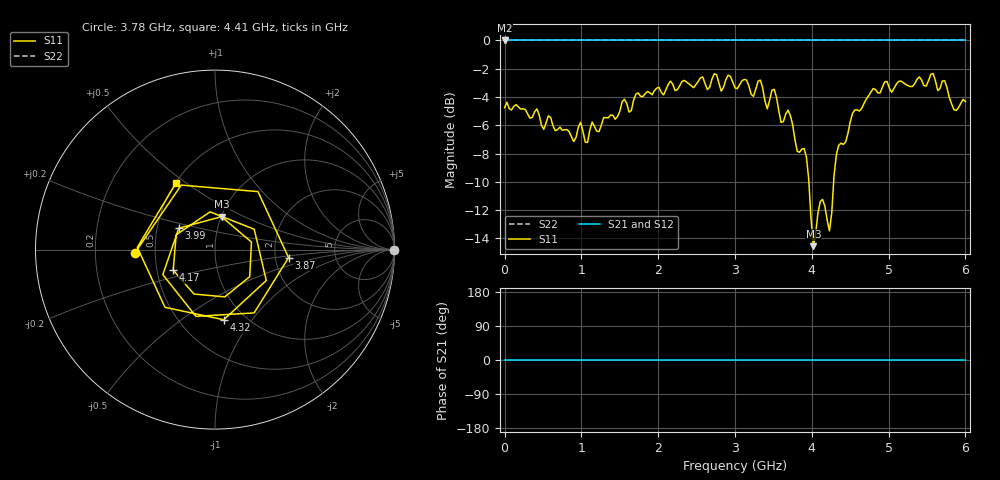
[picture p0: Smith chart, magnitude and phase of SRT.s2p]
!Keysight Technologies N9916A: A.08.06
!Date: Thursday, 30 May 2024 20:10:22
!Timezone: (GMT+10:00) Brisbane
!Model: N9916A
!Serial: MY53102361
!GPS Latitude:
!GPS Longitude:
!GPS TimeStamp: 0001-01-01 00:00:00Z
!GPS Seconds Since Last Read: 0
!CHECKSUM:0229838355
!Correction: S11(Rdy)S21()S12()S22()
!S2P File: Measurements:S11,S21,S12,S22:
# Hz S RI R 50
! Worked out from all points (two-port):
!   201 points, 30 kHz to 6 GHz, reference 50 ohm
!   highest |S21| = 0.00 dB at 30 kHz (marker M1); lowest = 0.0 dB at 30 kHz (marker M2)
!   |S21| within 3 dB of the highest: start of sweep to end of sweep
!   lowest |S11| = -14.6 dB at 4.02 GHz (marker M3), VSWR 1.46, Z = 50.1 + j19.1 ohm
!   |S11| at or under -10 dB: 3.962 GHz to 4.285 GHz (322.9 MHz wide, 7.83 % of centre)
!   |S22| runs from 0.0 to 0.0 dB; largest |S21 - S12| = 0
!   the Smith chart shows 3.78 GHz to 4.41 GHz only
!   S11 on the Smith chart (normalised r, x): 3.78 GHz: 0.38, -0.02; 3.87 GHz: 2.37, -0.26; 3.99 GHz: 0.65, +0.16; 4.17 GHz: 0.61, -0.15; 4.32 GHz: 0.80, -0.74; 4.41 GHz: 0.50, +0.46
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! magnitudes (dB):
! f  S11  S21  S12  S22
! 30 kHz  -4.8  0.0  0.0  0.0
! 1.02 GHz  -6.4  0.0  0.0  0.0
! 2.01 GHz  -3.3  0.0  0.0  0.0
! 3 GHz  -3.4  0.0  0.0  0.0
! 3.33 GHz  -2.8  0.0  0.0  0.0
! 3.42 GHz  -4.8  0.0  0.0  0.0
! 3.51 GHz  -3.5  0.0  0.0  0.0
! 3.78 GHz  -7.0  0.0  0.0  0.0
! 3.87 GHz  -7.7  0.0  0.0  0.0
! 3.93 GHz  -8.3  0.0  0.0  0.0
! 3.99 GHz  -12.6  0.0  0.0  0.0
! 4.02 GHz  -14.6  0.0  0.0  0.0
! 4.11 GHz  -11.4  0.0  0.0  0.0
! 4.17 GHz  -11.7  0.0  0.0  0.0
! 4.23 GHz  -13.5  0.0  0.0  0.0
! 4.32 GHz  -8.1  0.0  0.0  0.0
! 4.41 GHz  -7.4  0.0  0.0  0.0
! 4.56 GHz  -4.9  0.0  0.0  0.0
! 5.01 GHz  -3.4  0.0  0.0  0.0
! 5.58 GHz  -2.3  0.0  0.0  0.0
! 5.85 GHz  -4.9  0.0  0.0  0.0
! 6 GHz  -4.3  0.0  0.0  0.0
